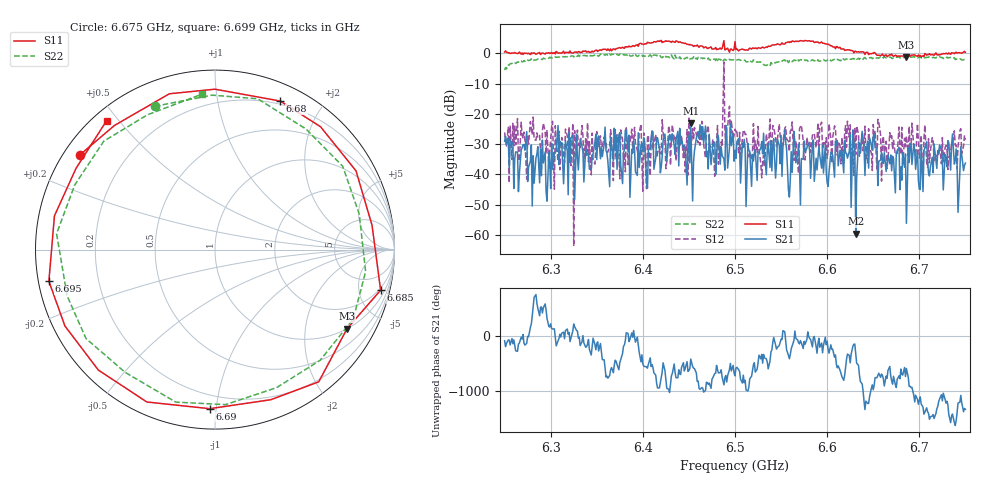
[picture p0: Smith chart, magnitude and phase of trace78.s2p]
# Hz S RI R 50
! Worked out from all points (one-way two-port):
!   401 points, 6.25 GHz to 6.75 GHz, reference 50 ohm
!   highest |S21| = -23.07 dB at 6.452 GHz (marker M1); lowest = -59.6 dB at 6.631 GHz (marker M2)
!   lowest |S11| = -1.3 dB at 6.686 GHz (marker M3), VSWR 13.04, Z = 50.2 - j167 ohm
!   |S11| at or under -10 dB: nowhere
!   |S22| runs from -5.5 to -0.2 dB; largest |S21 - S12| = 0.71
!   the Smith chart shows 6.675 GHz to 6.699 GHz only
!   S11 on the Smith chart (normalised r, x): 6.675 GHz: 0.05, +0.32; 6.68 GHz: 0.17, +1.52; 6.685 GHz: 1.70, -7.92; 6.69 GHz: 0.12, -0.96; 6.695 GHz: 0.03, -0.09; 6.699 GHz: 0.04, +0.47
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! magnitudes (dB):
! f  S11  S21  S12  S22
! 6.25 GHz  0.5  -29.1  -26.1  -5.5
! 6.298 GHz  0.2  -32.7  -37.9  -1.6
! 6.31 GHz  0.2  -29.1  -38.5  -1.4
! 6.334 GHz  0.4  -30.8  -23.9  -0.9
! 6.418 GHz  3.9  -31.7  -30.7  -0.9
! 6.452 GHz  2.8  -23.1  -32.9  -1.8
! 6.462 GHz  2.5  -23.6  -30.4  -1.7
! 6.5 GHz  3.9  -32.1  -25.1  -2.3
! 6.53 GHz  2.1  -33.2  -36.0  -3.3
! 6.54 GHz  2.7  -38.9  -29.7  -3.4
! 6.584 GHz  4.0  -30.3  -27.0  -2.1
! 6.631 GHz  0.7  -59.6  -33.5  -1.5
! 6.636 GHz  0.5  -33.0  -32.8  -1.5
! 6.668 GHz  -0.4  -36.5  -26.2  -1.2
! 6.675 GHz  -0.7  -33.4  -33.1  -1.2
! 6.68 GHz  -0.9  -37.5  -33.4  -1.4
! 6.685 GHz  -0.4  -33.3  -30.9  -1.4
! 6.686 GHz  -1.3  -56.2  -27.2  -1.5
! 6.69 GHz  -1.0  -30.5  -32.4  -1.4
! 6.695 GHz  -0.5  -32.0  -31.9  -1.3
! 6.699 GHz  -0.6  -42.0  -28.9  -1.2
! 6.75 GHz  0.3  -36.3  -28.6  -2.5
